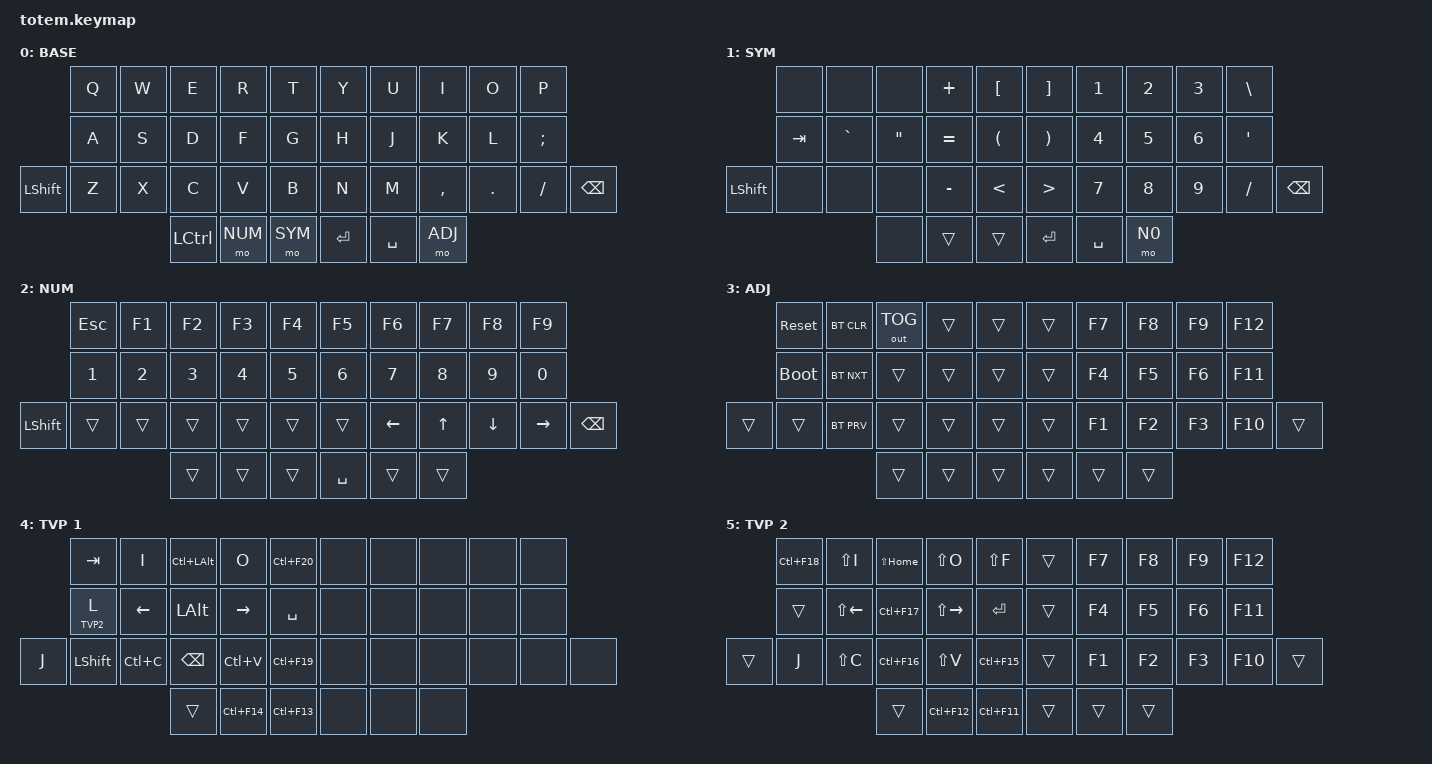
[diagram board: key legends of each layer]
//
//                                                        ▀▀▀▀▀     ▀▀▀▀▀          ▀▀█▀▀
//                                                        ▄▀▀▀▄  ▄  ▄▀▀▀▄  ▄  ▄▀▀▀▄  █  ▄▀▀▀▄
//                                                        █   █  █  █   █  █  █   █  █  █   █
//                                                         ▀▀▀   █   ▀▀▀   █   ▀▀▀   ▀   ▀▀▀
//                                                               █      ▄▄▄█▄▄▄    █   █  
//                                                               ▀      █  █  █     █▄█
//                                                             ▀▀▀▀▀    █  █  █      ▀
//                                                                      ▀  ▀  ▀
//
// ▄▄▄▄▄▄▄▄▄▄▄▄▄▄▄▄▄▄▄▄▄▄▄▄▄▄▄▄▄▄▄▄▄▄▄▄▄▄▄▄▄▄▄▄▄▄▄▄▄▄▄▄▄▄▄▄▄▄▄▄▄▄▄▄▄▄▄▄▄▄▄▄▄▄▄▄▄▄▄▄▄▄▄▄▄▄▄▄▄▄▄▄▄▄▄▄▄▄▄▄▄▄▄▄▄▄▄▄▄▄▄▄▄▄▄▄▄▄▄▄▄▄▄▄▄▄▄▄▄▄▄▄▄▄▄▄▄▄▄▄▄▄▄▄▄▄▄▄▄
       

#include <behaviors.dtsi>
#include <dt-bindings/zmk/keys.h>
#include <dt-bindings/zmk/bt.h>
#include <dt-bindings/zmk/outputs.h>

#define BASE 0
#define SYM  1
#define NUM  2
#define ADJ  3
#define TVP1 4
#define TVP2 5

&mt {
  quick-tap-ms = <100>;
  global-quick-tap;
  flavor = "tap-preferred";
  tapping-term-ms = <170>;
};

/ {
     combos {
            compatible = "zmk,combos";
            combo_esc {
                timeout-ms = <50>;
                key-positions = <0 1>;
                bindings = <&kp ESC>;
            };
            combo_tvp {
                timeout-ms = <100>;
                key-positions = <11 12 13>;
                bindings = <&tog TVP1>;
            };
    };

    macros {
        gif: gif {
            label = "giphy";
            compatible = "zmk,behavior-macro";
            #binding-cells = <0>;
            bindings
                = <&macro_press &kp LSHFT>
                , <&macro_tap &kp N2>
                , <&macro_release &kp LSHFT>
                , <&macro_tap &kp G &kp I &kp F>
                ;
        };
    };

        keymap {
                compatible = "zmk,keymap";
// ▄▄▄▄▄▄▄▄▄▄▄▄▄▄▄▄▄▄▄▄▄▄▄▄▄▄▄▄▄▄▄▄▄▄▄▄▄▄▄▄▄▄▄▄▄▄▄▄▄▄▄▄▄▄▄▄▄▄▄▄▄▄▄▄▄▄▄▄▄▄▄▄▄▄▄▄▄▄▄▄▄▄▄▄▄▄▄▄▄▄▄▄▄▄▄▄▄▄▄▄▄▄▄▄▄▄▄▄▄▄▄▄▄▄▄▄▄▄▄▄▄▄▄▄▄▄▄▄▄▄▄▄▄▄▄▄▄▄▄▄▄▄▄▄▄▄▄▄▄

                base_layer {
// ┏━━━━━━━━━━━━━━━━━━━━━━━━━━━━━━━━━━━━━━━┓
label= "BASE"                              ;
// ┗━━━━━━━━━━━━━━━━━━━━━━━━━━━━━━━━━━━━━━━┛
//             ┏━━━━━━━━━━━┳━━━━━━━━━━━┳━━━━━━━━━━━┳━━━━━━━━━━━┳━━━━━━━━━━━┓   ┏━━━━━━━━━━━┳━━━━━━━━━━━┳━━━━━━━━━━━┳━━━━━━━━━━━┳━━━━━━━━━━━┓
//             ┃     Q     ┃     W     ┃     E     ┃     R     ┃     T     ┃   ┃     Y     ┃     U     ┃     I     ┃     O     ┃     P     ┃
//             ┣━━━━━━━━━━━╋━━━━━━━━━━━╋━━━━━━━━━━━╋━━━━━━━━━━━╋━━━━━━━━━━━┫   ┣━━━━━━━━━━━╋━━━━━━━━━━━╋━━━━━━━━━━━╋━━━━━━━━━━━╋━━━━━━━━━━━┫
//             ┃     A     ┃     S     ┃     D     ┃     F     ┃     G     ┃   ┃     H     ┃     J     ┃     K     ┃     L     ┃     ;     ┃
// ┏━━━━━━━━━━━╋━━━━━━━━━━━╋━━━━━━━━━━━╋━━━━━━━━━━━╋━━━━━━━━━━━╋━━━━━━━━━━━┫   ┣━━━━━━━━━━━╋━━━━━━━━━━━╋━━━━━━━━━━━╋━━━━━━━━━━━╋━━━━━━━━━━━╋━━━━━━━━━━━┓
// ┃   LSHFT   ┃     Z     ┃     X     ┃     C     ┃     V     ┃     B     ┃   ┃     N     ┃     M     ┃     ,     ┃     .     ┃     /     ┃   BSPC    ┃
// ┗━━━━━━━━━━━┻━━━━━━━━━━━┻━━━━━━━━━━━╋━━━━━━━━━━━╋━━━━━━━━━━━╋━━━━━━━━━━━┫   ┣━━━━━━━━━━━╋━━━━━━━━━━━╋━━━━━━━━━━━╋━━━━━━━━━━━┻━━━━━━━━━━━┻━━━━━━━━━━━┛
//                                     ┃   LCTRL   ┃   MONUM   ┃  MOSYM    ┃   ┃   ENTER   ┃    SPC    ┃   MOADJ   ┃
//                                     ┗━━━━━━━━━━━┻━━━━━━━━━━━┻━━━━━━━━━━━┛   ┗━━━━━━━━━━━┻━━━━━━━━━━━┻━━━━━━━━━━━┛
 bindings = <
// ╷           ╷           ╷           ╷           ╷           ╷           ╷   ╷           ╷           ╷           ╷           ╷           ╷           ╷

                &kp Q       &kp W       &kp E       &kp R        &kp T           &kp Y       &kp U       &kp I       &kp O       &kp P
                &kp A       &kp S       &kp D       &kp F        &kp G           &kp H       &kp J       &kp K       &kp L       &kp SEMI
    &kp LSHFT   &kp Z       &kp X       &kp C       &kp V        &kp B           &kp N       &kp M       &kp COMMA   &kp DOT     &kp FSLH    &kp BSPC
                                        &kp LCTRL   &mo NUM      &mo SYM         &kp RET     &kp SPACE   &mo ADJ
                        >;
                };

// ▄▄▄▄▄▄▄▄▄▄▄▄▄▄▄▄▄▄▄▄▄▄▄▄▄▄▄▄▄▄▄▄▄▄▄▄▄▄▄▄▄▄▄▄▄▄▄▄▄▄▄▄▄▄▄▄▄▄▄▄▄▄▄▄▄▄▄▄▄▄▄▄▄▄▄▄▄▄▄▄▄▄▄▄▄▄▄▄▄▄▄▄▄▄▄▄▄▄▄▄▄▄▄▄▄▄▄▄▄▄▄▄▄▄▄▄▄▄▄▄▄▄▄▄▄▄▄▄▄▄▄▄▄▄▄▄▄▄▄▄▄▄▄▄▄▄▄▄▄


                sym_layer {
// ┏━━━━━━━━━━━━━━━━━━━━━━━━━━━━━━━━━━━━━━━┓
label= "SYM"                               ;
// ┗━━━━━━━━━━━━━━━━━━━━━━━━━━━━━━━━━━━━━━━┛
//             ┏━━━━━━━━━━━┳━━━━━━━━━━━┳━━━━━━━━━━━━━━━━━┳━━━━━━━━━━━┳━━━━━━━━━━━┓   ┏━━━━━━━━━━━┳━━━━━━━━━━━┳━━━━━━━━━━━┳━━━━━━━━━━━┳━━━━━━━━━━━┓
//             ┃           ┃           ┃                 ┃   PLUS    ┃     [     ┃   ┃     ]     ┃     1!    ┃     2@    ┃     3#    ┃     \     ┃
//             ┣━━━━━━━━━━━╋━━━━━━━━━━━╋━━━━━━━━━━━━━━━━━╋━━━━━━━━━━━╋━━━━━━━━━━━┫   ┣━━━━━━━━━━━╋━━━━━━━━━━━╋━━━━━━━━━━━╋━━━━━━━━━━━╋━━━━━━━━━━━┫
//             ┃    TAB    ┃   GRAVE   ┃      "          ┃   EQUAL   ┃     (     ┃   ┃      )    ┃     4$    ┃     5%    ┃     6^    ┃     '     ┃
// ┏━━━━━━━━━━━╋━━━━━━━━━━━╋━━━━━━━━━━━╋━━━━━━━━━━━━━━━━━╋━━━━━━━━━━━╋━━━━━━━━━━━┫   ┣━━━━━━━━━━━╋━━━━━━━━━━━╋━━━━━━━━━━━╋━━━━━━━━━━━╋━━━━━━━━━━━╋━━━━━━━━━━━┓
// ┃   LSHFT   ┃           ┃           ┃                 ┃   MINUS   ┃     <     ┃   ┃     >     ┃     7&    ┃     8*    ┃     9(    ┃     /     ┃   BSPC    ┃
// ┗━━━━━━━━━━━┻━━━━━━━━━━━┻━━━━━━━━━━━╋━━━━━━━━━━━━━━━━━╋━━━━━━━━━━━╋━━━━━━━━━━━┫   ┣━━━━━━━━━━━╋━━━━━━━━━━━╋━━━━━━━━━━━╋━━━━━━━━━━━┻━━━━━━━━━━━┻━━━━━━━━━━━┛
//                                     ┃                 ┃           ┃           ┃   ┃   ENTER   ┃    SPC    ┃     0)    ┃
//                                     ┗━━━━━━━━━━━━━━━━━┻━━━━━━━━━━━┻━━━━━━━━━━━┛   ┗━━━━━━━━━━━┻━━━━━━━━━━━┻━━━━━━━━━━━┛
 bindings = <
// ╷           ╷           ╷           ╷                 ╷           ╷           ╷   ╷           ╷           ╷           ╷           ╷           ╷           ╷

                &none       &none       &none             &kp PLUS     &kp LBKT        &kp RBKT    &kp N1      &kp N2      &kp N3      &kp BSLH
                &kp TAB     &kp GRAVE   &kp DQT           &kp EQUAL    &kp LPAR        &kp RPAR    &kp N4      &kp N5      &kp N6      &kp APOS
    &kp LSHFT   &none       &none       &none             &kp MINUS    &kp LT          &kp GT      &kp N7      &kp N8      &kp N9      &kp FSLH    &kp BSPC
                                        &none             &trans       &trans          &kp RET     &kp SPACE   &mo N0      
                        >;
                };

// ▄▄▄▄▄▄▄▄▄▄▄▄▄▄▄▄▄▄▄▄▄▄▄▄▄▄▄▄▄▄▄▄▄▄▄▄▄▄▄▄▄▄▄▄▄▄▄▄▄▄▄▄▄▄▄▄▄▄▄▄▄▄▄▄▄▄▄▄▄▄▄▄▄▄▄▄▄▄▄▄▄▄▄▄▄▄▄▄▄▄▄▄▄▄▄▄▄▄▄▄▄▄▄▄▄▄▄▄▄▄▄▄▄▄▄▄▄▄▄▄▄▄▄▄▄▄▄▄▄▄▄▄▄▄▄▄▄▄▄▄▄▄▄▄▄▄▄▄▄


                num_layer {
// ┏━━━━━━━━━━━━━━━━━━━━━━━━━━━━━━━━━━━━━━━┓
label= "NUM"                              ;
// ┗━━━━━━━━━━━━━━━━━━━━━━━━━━━━━━━━━━━━━━━┛
//             ┏━━━━━━━━━━━┳━━━━━━━━━━━┳━━━━━━━━━━━┳━━━━━━━━━━━┳━━━━━━━━━━━┓   ┏━━━━━━━━━━━┳━━━━━━━━━━━┳━━━━━━━━━━━┳━━━━━━━━━━━┳━━━━━━━━━━━┓
//             ┃     ESC   ┃    F1     ┃     F2    ┃    F3     ┃    F4     ┃   ┃    F5     ┃     F6    ┃     F7    ┃     F8    ┃     F9    ┃
//             ┣━━━━━━━━━━━╋━━━━━━━━━━━╋━━━━━━━━━━━╋━━━━━━━━━━━╋━━━━━━━━━━━┫   ┣━━━━━━━━━━━╋━━━━━━━━━━━╋━━━━━━━━━━━╋━━━━━━━━━━━╋━━━━━━━━━━━┫
//             ┃     1!    ┃     2@    ┃     3#    ┃     4$    ┃    5%     ┃   ┃     6^    ┃     7&    ┃     8*    ┃     9(    ┃     0)    ┃
// ┏━━━━━━━━━━━╋━━━━━━━━━━━╋━━━━━━━━━━━╋━━━━━━━━━━━╋━━━━━━━━━━━╋━━━━━━━━━━━┫   ┣━━━━━━━━━━━╋━━━━━━━━━━━╋━━━━━━━━━━━╋━━━━━━━━━━━╋━━━━━━━━━━━╋━━━━━━━━━━━┓
// ┃  LSHIFT   ┃           ┃           ┃           ┃           ┃           ┃   ┃           ┃   LEFT    ┃     UP    ┃    DOWN   ┃   RIGHT   ┃    BSPC   ┃
// ┗━━━━━━━━━━━┻━━━━━━━━━━━┻━━━━━━━━━━━╋━━━━━━━━━━━╋━━━━━━━━━━━╋━━━━━━━━━━━┫   ┣━━━━━━━━━━━╋━━━━━━━━━━━╋━━━━━━━━━━━╋━━━━━━━━━━━┻━━━━━━━━━━━┻━━━━━━━━━━━┛
//                                     ┃           ┃           ┃           ┃   ┃    SPC    ┃           ┃           ┃
//                                     ┗━━━━━━━━━━━┻━━━━━━━━━━━┻━━━━━━━━━━━┛   ┗━━━━━━━━━━━┻━━━━━━━━━━━┻━━━━━━━━━━━┛
 bindings = <
// ╷           ╷           ╷           ╷           ╷           ╷           ╷   ╷           ╷           ╷           ╷           ╷           ╷           ╷

                &kp ESC     &kp F1      &kp F2      &kp F3      &kp F4          &kp F5      &kp F6      &kp F7      &kp F8      &kp F9
                &kp N1      &kp N2      &kp N3      &kp N4      &kp N5          &kp N6      &kp N7      &kp N8      &kp N9      &kp N0   
    &kp LSHFT   &trans      &trans      &trans      &trans      &trans          &trans      &kp LEFT    &kp UP      &kp DOWN    &kp RIGHT   &kp BSPC      
                                        &trans      &trans      &trans          &kp SPACE   &trans      &trans            
                        >;
                };

// ▄▄▄▄▄▄▄▄▄▄▄▄▄▄▄▄▄▄▄▄▄▄▄▄▄▄▄▄▄▄▄▄▄▄▄▄▄▄▄▄▄▄▄▄▄▄▄▄▄▄▄▄▄▄▄▄▄▄▄▄▄▄▄▄▄▄▄▄▄▄▄▄▄▄▄▄▄▄▄▄▄▄▄▄▄▄▄▄▄▄▄▄▄▄▄▄▄▄▄▄▄▄▄▄▄▄▄▄▄▄▄▄▄▄▄▄▄▄▄▄▄▄▄▄▄▄▄▄▄▄▄▄▄▄▄▄▄▄▄▄▄▄▄▄▄▄▄▄▄


                adjust_layer {
// ┏━━━━━━━━━━━━━━━━━━━━━━━━━━━━━━━━━━━━━━━┓
label= "ADJ"                               ;
// ┗━━━━━━━━━━━━━━━━━━━━━━━━━━━━━━━━━━━━━━━┛
//             ┏━━━━━━━━━━━┳━━━━━━━━━━━┳━━━━━━━━━━━┳━━━━━━━━━━━┳━━━━━━━━━━━┓   ┏━━━━━━━━━━━┳━━━━━━━━━━━┳━━━━━━━━━━━┳━━━━━━━━━━━┳━━━━━━━━━━━┓
//             ┃   RESET   ┃ BT CLEAR  ┃  OUT TOG  ┃           ┃           ┃   ┃           ┃    F7     ┃    F8     ┃    F9     ┃    F12    ┃
//             ┣━━━━━━━━━━━╋━━━━━━━━━━━╋━━━━━━━━━━━╋━━━━━━━━━━━╋━━━━━━━━━━━┫   ┣━━━━━━━━━━━╋━━━━━━━━━━━╋━━━━━━━━━━━╋━━━━━━━━━━━╋━━━━━━━━━━━┫
//             ┃ BOOTLOAD  ┃ BT NEXT   ┃           ┃           ┃           ┃   ┃           ┃    F4     ┃    F5     ┃    F6     ┃    F11    ┃
// ┏━━━━━━━━━━━╋━━━━━━━━━━━╋━━━━━━━━━━━╋━━━━━━━━━━━╋━━━━━━━━━━━╋━━━━━━━━━━━┫   ┣━━━━━━━━━━━╋━━━━━━━━━━━╋━━━━━━━━━━━╋━━━━━━━━━━━╋━━━━━━━━━━━╋━━━━━━━━━━━┓
// ┃           ┃           ┃ BT PREV   ┃           ┃           ┃           ┃   ┃           ┃    F1     ┃    F2     ┃    F3     ┃    F10    ┃           ┃
// ┗━━━━━━━━━━━┻━━━━━━━━━━━┻━━━━━━━━━━━╋━━━━━━━━━━━╋━━━━━━━━━━━╋━━━━━━━━━━━┫   ┣━━━━━━━━━━━╋━━━━━━━━━━━╋━━━━━━━━━━━╋━━━━━━━━━━━┻━━━━━━━━━━━┻━━━━━━━━━━━┛
//                                     ┃           ┃           ┃           ┃   ┃           ┃           ┃           ┃
//                                     ┗━━━━━━━━━━━┻━━━━━━━━━━━┻━━━━━━━━━━━┛   ┗━━━━━━━━━━━┻━━━━━━━━━━━┻━━━━━━━━━━━┛
 bindings = <
// ╷           ╷           ╷           ╷           ╷           ╷           ╷   ╷           ╷           ╷           ╷           ╷           ╷           ╷

                &sys_reset  &bt BT_CLR &out OUT_TOG &trans      &trans          &trans      &kp F7      &kp F8      &kp F9      &kp F12
                &bootloader &bt BT_NXT  &trans      &trans      &trans          &trans      &kp F4      &kp F5      &kp F6      &kp F11  
    &trans      &trans      &bt BT_PRV  &trans      &trans      &trans          &trans      &kp F1      &kp F2      &kp F3      &kp F10     &trans         
                                        &trans      &trans      &trans          &trans      &trans      &trans      
                        >;
                };

// ▄▄▄▄▄▄▄▄▄▄▄▄▄▄▄▄▄▄▄▄▄▄▄▄▄▄▄▄▄▄▄▄▄▄▄▄▄▄▄▄▄▄▄▄▄▄▄▄▄▄▄▄▄▄▄▄▄▄▄▄▄▄▄▄▄▄▄▄▄▄▄▄▄▄▄▄▄▄▄▄▄▄▄▄▄▄▄▄▄▄▄▄▄▄▄▄▄▄▄▄▄▄▄▄▄▄▄▄▄▄▄▄▄▄▄▄▄▄▄▄▄▄▄▄▄▄▄▄▄▄▄▄▄▄▄▄▄▄▄▄▄▄▄▄▄▄▄▄▄


                tvp1_layer {
// ┏━━━━━━━━━━━━━━━━━━━━━━━━━━━━━━━━━━━━━━━┓
label= "TVP 1"                             ;
// ┗━━━━━━━━━━━━━━━━━━━━━━━━━━━━━━━━━━━━━━━┛
//             ┏━━━━━━━━━━━┳━━━━━━━━━━━┳━━━━━━━━━━━┳━━━━━━━━━━━┳━━━━━━━━━━━┓   ┏━━━━━━━━━━━┳━━━━━━━━━━━┳━━━━━━━━━━━┳━━━━━━━━━━━┳━━━━━━━━━━━┓
//             ┃ NEXT FILE ┃ MARK IN   ┃ ROTATE    ┃ MARK OUT  ┃ SHOW SNAP ┃   ┃           ┃           ┃           ┃           ┃           ┃
//             ┣━━━━━━━━━━━╋━━━━━━━━━━━╋━━━━━━━━━━━╋━━━━━━━━━━━╋━━━━━━━━━━━┫   ┣━━━━━━━━━━━╋━━━━━━━━━━━╋━━━━━━━━━━━╋━━━━━━━━━━━╋━━━━━━━━━━━┫
//             ┃ TVP II    ┃ LEFT      ┃ PAN       ┃ RIGHT     ┃ PLAY/FLIP ┃   ┃           ┃           ┃           ┃           ┃           ┃
// ┏━━━━━━━━━━━╋━━━━━━━━━━━╋━━━━━━━━━━━╋━━━━━━━━━━━╋━━━━━━━━━━━╋━━━━━━━━━━━┫   ┣━━━━━━━━━━━╋━━━━━━━━━━━╋━━━━━━━━━━━╋━━━━━━━━━━━╋━━━━━━━━━━━╋━━━━━━━━━━━┓
// ┃ FULLSCR   ┃ SHIFT     ┃ COPY      ┃ DELETE    ┃ PASTE     ┃ IMG MARK  ┃   ┃           ┃           ┃           ┃           ┃           ┃           ┃
// ┗━━━━━━━━━━━┻━━━━━━━━━━━┻━━━━━━━━━━━╋━━━━━━━━━━━╋━━━━━━━━━━━╋━━━━━━━━━━━┫   ┣━━━━━━━━━━━╋━━━━━━━━━━━╋━━━━━━━━━━━╋━━━━━━━━━━━┻━━━━━━━━━━━┻━━━━━━━━━━━┛
//                                     ┃           ┃ UNDO/SAVE ┃  SEL/MOV  ┃   ┃           ┃           ┃           ┃
//                                     ┗━━━━━━━━━━━┻━━━━━━━━━━━┻━━━━━━━━━━━┛   ┗━━━━━━━━━━━┻━━━━━━━━━━━┻━━━━━━━━━━━┛
 bindings = <
// ╷           ╷           ╷           ╷           ╷           ╷           ╷   ╷           ╷           ╷           ╷           ╷           ╷           ╷

                &kp TAB     &kp I       &kp LC(LALT) &kp O      &kp LC(F20)     &none       &none       &none       &none       &none
                &lt TVP2 L  &kp LEFT    &kp LALT    &kp RIGHT   &kp SPACE       &none       &none       &none       &none       &none
    &kp J       &kp LSHFT   &kp LC(C)   &kp BSPC    &kp LC(V)   &kp LC(F19)     &none       &none       &none       &none       &none       &none        
                                        &trans      &kp LC(F14) &kp LC(F13)     &none       &none       &none    
                        >;
                };

// ▄▄▄▄▄▄▄▄▄▄▄▄▄▄▄▄▄▄▄▄▄▄▄▄▄▄▄▄▄▄▄▄▄▄▄▄▄▄▄▄▄▄▄▄▄▄▄▄▄▄▄▄▄▄▄▄▄▄▄▄▄▄▄▄▄▄▄▄▄▄▄▄▄▄▄▄▄▄▄▄▄▄▄▄▄▄▄▄▄▄▄▄▄▄▄▄▄▄▄▄▄▄▄▄▄▄▄▄▄▄▄▄▄▄▄▄▄▄▄▄▄▄▄▄▄▄▄▄▄▄▄▄▄▄▄▄▄▄▄▄▄▄▄▄▄▄▄▄▄


                tvp2_layer {
// ┏━━━━━━━━━━━━━━━━━━━━━━━━━━━━━━━━━━━━━━━┓
label= "TVP 2"                             ;
// ┗━━━━━━━━━━━━━━━━━━━━━━━━━━━━━━━━━━━━━━━┛
//             ┏━━━━━━━━━━━┳━━━━━━━━━━━┳━━━━━━━━━━━┳━━━━━━━━━━━┳━━━━━━━━━━━┓   ┏━━━━━━━━━━━┳━━━━━━━━━━━┳━━━━━━━━━━━┳━━━━━━━━━━━┳━━━━━━━━━━━┓
//             ┃ SOLO      ┃ TOGGLE IN ┃ RESET ROT ┃ TOGGLE OUT┃ TAKE SNAP ┃   ┃           ┃           ┃           ┃           ┃           ┃
//             ┣━━━━━━━━━━━╋━━━━━━━━━━━╋━━━━━━━━━━━╋━━━━━━━━━━━╋━━━━━━━━━━━┫   ┣━━━━━━━━━━━╋━━━━━━━━━━━╋━━━━━━━━━━━╋━━━━━━━━━━━╋━━━━━━━━━━━┫
//             ┃ ---       ┃ LAST KEY  ┃ NEW KEY   ┃ NEXT KEY  ┃ ENTER     ┃   ┃           ┃           ┃           ┃           ┃           ┃
// ┏━━━━━━━━━━━╋━━━━━━━━━━━╋━━━━━━━━━━━╋━━━━━━━━━━━╋━━━━━━━━━━━╋━━━━━━━━━━━┫   ┣━━━━━━━━━━━╋━━━━━━━━━━━╋━━━━━━━━━━━╋━━━━━━━━━━━╋━━━━━━━━━━━╋━━━━━━━━━━━┓
// ┃           ┃ FULLSCR   ┃ CPY2BRUSH ┃ DEL HEAD  ┃ PSTinPLACE┃ BOOK MARK ┃   ┃           ┃           ┃           ┃           ┃           ┃           ┃
// ┗━━━━━━━━━━━┻━━━━━━━━━━━┻━━━━━━━━━━━╋━━━━━━━━━━━╋━━━━━━━━━━━╋━━━━━━━━━━━┫   ┣━━━━━━━━━━━╋━━━━━━━━━━━╋━━━━━━━━━━━╋━━━━━━━━━━━┻━━━━━━━━━━━┻━━━━━━━━━━━┛
//                                     ┃           ┃ REDO/SAV1 ┃TRANS/WARP ┃   ┃           ┃           ┃           ┃
//                                     ┗━━━━━━━━━━━┻━━━━━━━━━━━┻━━━━━━━━━━━┛   ┗━━━━━━━━━━━┻━━━━━━━━━━━┻━━━━━━━━━━━┛
 bindings = <
// ╷           ╷           ╷           ╷           ╷           ╷           ╷   ╷           ╷           ╷           ╷           ╷           ╷           ╷

                &kp LC(F18) &kp LS(I)  &kp LS(HOME) &kp LS(O)   &kp LS(F)       &trans      &kp F7      &kp F8      &kp F9      &kp F12
                &trans      &kp LS(LEFT) &kp LC(F17) &kp LS(RIGHT) &kp RET      &trans      &kp F4      &kp F5      &kp F6      &kp F11  
    &trans      &kp J       &kp LS(C)   &kp LC(F16) &kp LS(V)   &kp LC(F15)     &trans      &kp F1      &kp F2      &kp F3      &kp F10     &trans         
                                        &trans      &kp LC(F12) &kp LC(F11)     &trans      &trans      &trans      
                        >;
                };
        };
};
